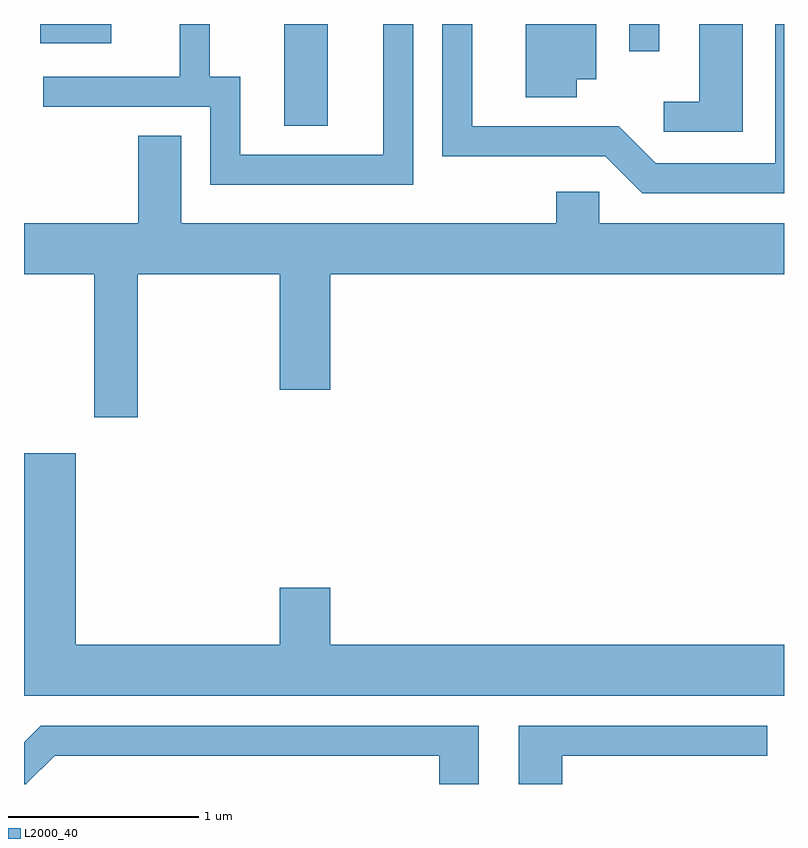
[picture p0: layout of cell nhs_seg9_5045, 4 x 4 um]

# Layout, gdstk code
import gdstk
lib = gdstk.Library(unit=1e-6, precision=1e-09)
def R(c, l, rs):  # rectangles x0, y0, x1, y1
    for r in rs: c.add(gdstk.rectangle(r[:2], r[2:], *l))
def P(c, l, *ps):  # polygons
    for p in ps: c.add(gdstk.Polygon(p, *l))
L2000_40 = (2000, 40)

nhs_seg9_5045 = lib.new_cell('nhs_seg9_5045')
R(nhs_seg9_5045, L2000_40, [(334.981,2025.896,335.209,2026.432), (336.796,2026.288,336.954,2026.432), (333.696,2026.331,334.069,2026.432)])
P(nhs_seg9_5045, L2000_40, [(337.394,2026.432),(337.166,2026.432),(337.166,2026.024),(336.978,2026.024),(336.978,2025.866),(337.394,2025.866)],
  [(336.519,2026.141),(336.624,2026.141),(336.624,2026.432),(336.251,2026.432),(336.251,2026.046),(336.519,2026.046)],
  [(337.611,2026.432),(337.566,2026.432),(337.566,2025.699),(336.937,2025.699),(336.742,2025.894),(335.969,2025.894),(335.969,2026.432),(335.811,2026.432),(335.811,2025.736),(336.669,2025.736),(336.864,2025.541),(337.611,2025.541)],
  [(335.659,2026.432),(335.501,2026.432),(335.501,2025.744),(334.749,2025.744),(334.749,2026.154),(334.589,2026.154),(334.589,2026.432),(334.431,2026.432),(334.431,2026.154),(333.713,2026.154),(333.713,2025.996),(334.591,2025.996),(334.591,2025.586),(335.659,2025.586)],
  [(334.209,2025.116),(334.956,2025.116),(334.956,2024.506),(335.224,2024.506),(335.224,2025.116),(337.611,2025.116),(337.611,2025.384),(336.639,2025.384),(336.639,2025.549),(336.411,2025.549),(336.411,2025.384),(334.439,2025.384),(334.439,2025.844),(334.211,2025.844),(334.211,2025.384),(333.611,2025.384),(333.611,2025.116),(333.981,2025.116),(333.981,2024.361),(334.209,2024.361)],
  [(337.611,2023.164),(335.224,2023.164),(335.224,2023.464),(334.956,2023.464),(334.956,2023.164),(333.884,2023.164),(333.884,2024.174),(333.611,2024.174),(333.611,2022.896),(337.611,2022.896)],
  [(336.444,2022.581),(337.523,2022.581),(337.523,2022.739),(336.216,2022.739),(336.216,2022.432),(336.444,2022.432)],
  [(333.624,2022.434),(333.772,2022.581),(335.796,2022.581),(335.796,2022.432),(336.004,2022.432),(336.004,2022.739),(333.699,2022.739),(333.611,2022.651),(333.611,2022.432),(333.624,2022.432)])

lib.write_gds('nhs_seg9_5045.gds')
